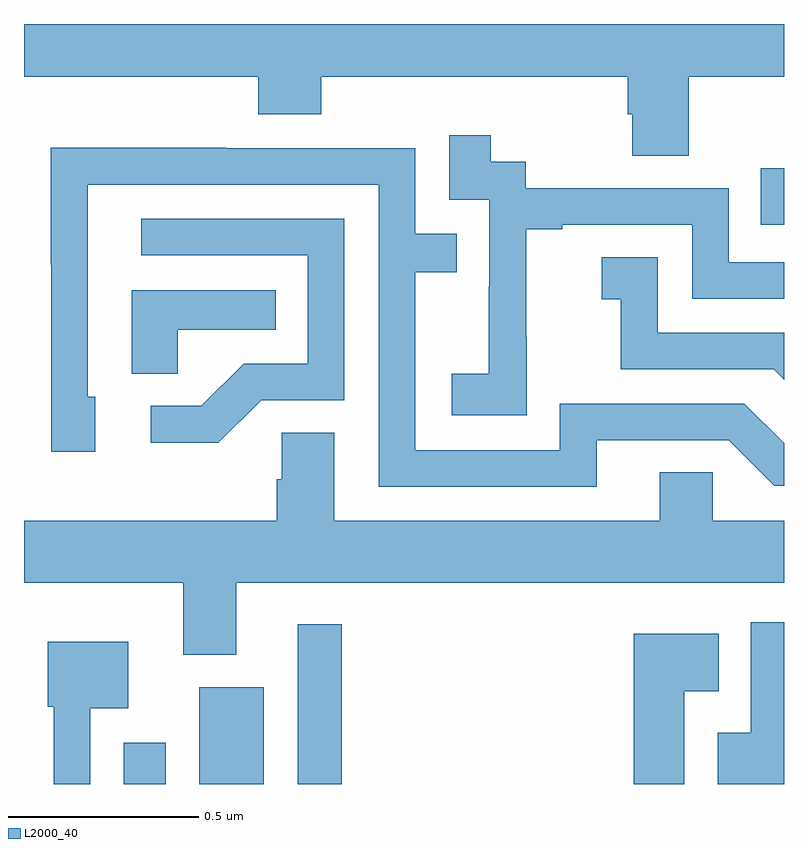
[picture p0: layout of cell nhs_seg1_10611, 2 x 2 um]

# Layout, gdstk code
import gdstk
lib = gdstk.Library(unit=1e-6, precision=1e-09)
def R(c, l, rs):  # rectangles x0, y0, x1, y1
    for r in rs: c.add(gdstk.rectangle(r[:2], r[2:], *l))
def P(c, l, *ps):  # polygons
    for p in ps: c.add(gdstk.Polygon(p, *l))
L2000_40 = (2000, 40)

nhs_seg1_10611 = lib.new_cell('nhs_seg1_10611')
R(nhs_seg1_10611, L2000_40, [(243.263,555.199,243.373,555.307), (243.461,555.199,243.631,555.454), (243.72,555.199,243.836,555.619), (244.939,556.671,245,556.819)])
P(nhs_seg1_10611, L2000_40, [(244.749,557.06),(245,557.06),(245,557.199),(243,557.199),(243,557.06),(243.617,557.06),(243.617,556.961),(243.782,556.961),(243.782,557.06),(244.589,557.06),(244.589,556.962),(244.601,556.962),(244.601,556.852),(244.749,556.852)],
  [(244.323,556.375),(244.322,556.375),(244.322,556.659),(244.417,556.659),(244.417,556.671),(244.758,556.671),(244.758,556.476),(245,556.476),(245,556.572),(244.854,556.572),(244.854,556.767),(244.32,556.767),(244.32,556.836),(244.228,556.836),(244.228,556.906),(244.119,556.906),(244.119,556.737),(244.224,556.737),(244.224,556.508),(244.223,556.508),(244.223,556.279),(244.125,556.279),(244.125,556.169),(244.323,556.169)],
  [(244.507,556.104),(244.854,556.104),(244.974,555.984),(245,555.984),(245,556.096),(244.896,556.2),(244.41,556.2),(244.41,556.077),(244.029,556.077),(244.029,556.546),(244.139,556.546),(244.139,556.647),(244.029,556.647),(244.029,556.872),(243.533,556.872),(243.533,556.874),(243.07,556.874),(243.07,556.567),(243.072,556.567),(243.072,556.074),(243.187,556.074),(243.187,556.218),(243.168,556.218),(243.168,556.776),(243.933,556.776),(243.933,555.981),(244.507,555.981)],
  [(243.624,556.209),(243.843,556.209),(243.843,556.686),(243.309,556.686),(243.309,556.59),(243.747,556.59),(243.747,556.305),(243.578,556.305),(243.467,556.194),(243.333,556.194),(243.333,556.097),(243.511,556.097)],
  [(245,556.386),(244.668,556.386),(244.668,556.585),(244.521,556.585),(244.521,556.475),(244.57,556.475),(244.57,556.29),(244.973,556.29),(245,556.263)],
  [(243.405,556.394),(243.662,556.394),(243.662,556.498),(243.284,556.498),(243.284,556.279),(243.405,556.279)],
  [(243.559,555.728),(245,555.728),(245,555.892),(244.812,555.892),(244.812,556.019),(244.673,556.019),(244.673,555.892),(243.817,555.892),(243.817,556.124),(243.678,556.124),(243.678,556.001),(243.665,556.001),(243.665,555.892),(243,555.892),(243,555.728),(243.419,555.728),(243.419,555.539),(243.559,555.539)],
  [(245,555.625),(244.913,555.625),(244.913,555.334),(244.826,555.334),(244.826,555.199),(245,555.199)],
  [(244.738,555.443),(244.828,555.443),(244.828,555.595),(244.604,555.595),(244.604,555.199),(244.738,555.199)],
  [(243.174,555.398),(243.274,555.398),(243.274,555.574),(243.062,555.574),(243.062,555.402),(243.078,555.402),(243.078,555.199),(243.174,555.199)])

lib.write_gds('nhs_seg1_10611.gds')
